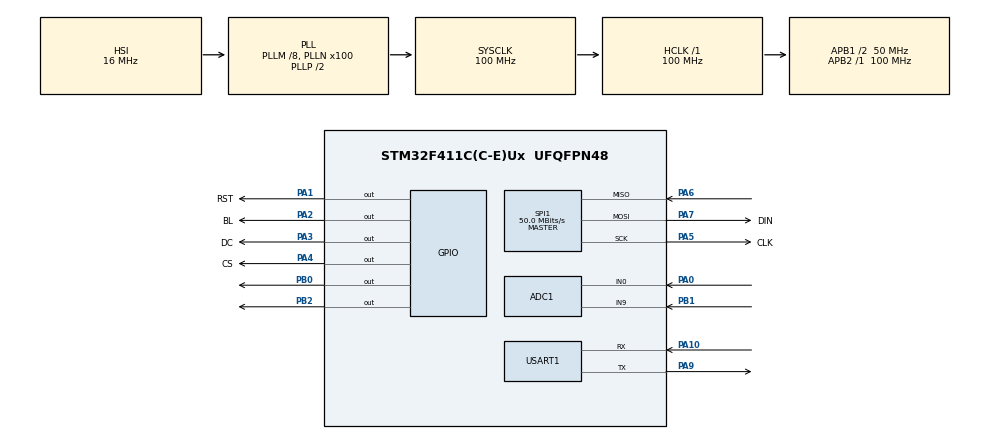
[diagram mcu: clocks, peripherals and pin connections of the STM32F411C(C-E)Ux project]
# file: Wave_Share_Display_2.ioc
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ADC1.Channel-4\#ChannelRegularConversion=ADC_CHANNEL_9
ADC1.Channel-5\#ChannelRegularConversion=ADC_CHANNEL_0
ADC1.EOCSelection=ADC_EOC_SEQ_CONV
ADC1.NbrOfConversion=2
ADC1.NbrOfConversionFlag=1
ADC1.Rank-4\#ChannelRegularConversion=1
ADC1.Rank-5\#ChannelRegularConversion=2
ADC1.SamplingTime-4\#ChannelRegularConversion=ADC_SAMPLETIME_3CYCLES
ADC1.SamplingTime-5\#ChannelRegularConversion=ADC_SAMPLETIME_15CYCLES
ADC1.ScanConvMode=ENABLE
ADC1.master=1
Dma.ADC1.0.Direction=DMA_PERIPH_TO_MEMORY
Dma.ADC1.0.FIFOMode=DMA_FIFOMODE_DISABLE
Dma.ADC1.0.Instance=DMA2_Stream0
Dma.ADC1.0.MemDataAlignment=DMA_MDATAALIGN_HALFWORD
Dma.ADC1.0.MemInc=DMA_MINC_ENABLE
Dma.ADC1.0.Mode=DMA_NORMAL
Dma.ADC1.0.PeriphDataAlignment=DMA_PDATAALIGN_HALFWORD
Dma.ADC1.0.PeriphInc=DMA_PINC_DISABLE
Dma.ADC1.0.Priority=DMA_PRIORITY_LOW
Dma.Request0=ADC1
Mcu.Family=STM32F4
Mcu.Name=STM32F411C(C-E)Ux
Mcu.Package=UFQFPN48
NVIC.DMA2_Stream0_IRQn=true\:0\:0\:false\:false\:true\:false\:true\:true
NVIC.PriorityGroup=NVIC_PRIORITYGROUP_4
NVIC.SPI1_IRQn=true\:0\:0\:false\:false\:true\:true\:true\:true
PA0-WKUP.Signal=ADCx_IN0
PA1.GPIO_Label=RST
PA1.Signal=GPIO_Output
PA10.Mode=Asynchronous
PA10.Signal=USART1_RX
PA2.GPIO_Label=BL
PA2.Signal=GPIO_Output
PA3.GPIO_Label=DC
PA3.Signal=GPIO_Output
PA4.GPIO_Label=CS
PA4.Signal=GPIO_Output
PA5.GPIO_Label=CLK
PA5.Mode=Full_Duplex_Master
PA5.Signal=SPI1_SCK
PA6.Mode=Full_Duplex_Master
PA6.Signal=SPI1_MISO
PA7.GPIO_Label=DIN
PA7.Mode=Full_Duplex_Master
PA7.Signal=SPI1_MOSI
PA9.Mode=Asynchronous
PA9.Signal=USART1_TX
PB0.Signal=GPIO_Output
PB1.Signal=ADCx_IN9
PB2.Signal=GPIO_Output
PH0\ -\ OSC_IN.Mode=HSE-External-Oscillator
PH0\ -\ OSC_IN.Signal=RCC_OSC_IN
PH1\ -\ OSC_OUT.Mode=HSE-External-Oscillator
PH1\ -\ OSC_OUT.Signal=RCC_OSC_OUT
ProjectManager.HeapSize=0x200
ProjectManager.StackSize=0x400
ProjectManager.TargetToolchain=STM32CubeIDE
RCC.48MHZClocksFreq_Value=50000000
RCC.AHBFreq_Value=100000000
RCC.APB1CLKDivider=RCC_HCLK_DIV2
RCC.APB1Freq_Value=50000000
RCC.APB1TimFreq_Value=100000000
RCC.APB2Freq_Value=100000000
RCC.APB2TimFreq_Value=100000000
RCC.CortexFreq_Value=100000000
RCC.HCLKFreq_Value=100000000
RCC.HSE_VALUE=25000000
RCC.HSI_VALUE=16000000
RCC.LSE_VALUE=32768
RCC.PLLM=8
RCC.PLLN=100
RCC.SYSCLKFreq_VALUE=100000000
RCC.SYSCLKSource=RCC_SYSCLKSOURCE_PLLCLK
RCC.VCOOutputFreq_Value=200000000
SH.ADCx_IN0.0=ADC1_IN0,IN0
SH.ADCx_IN9.0=ADC1_IN9,IN9
SPI1.BaudRatePrescaler=SPI_BAUDRATEPRESCALER_2
SPI1.CalculateBaudRate=50.0 MBits/s
SPI1.Direction=SPI_DIRECTION_2LINES
SPI1.Mode=SPI_MODE_MASTER
SPI1.VirtualType=VM_MASTER
USART1.VirtualMode=VM_ASYNC
board=custom

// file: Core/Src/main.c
/* USER CODE BEGIN Header */
/**
  ******************************************************************************
  * @file           : main.c
  * @brief          : Main program body
  ******************************************************************************
  * @attention
  *
  * Copyright (c) 2026 STMicroelectronics.
  * All rights reserved.
  *
  * This software is licensed under terms that can be found in the LICENSE file
  * in the root directory of this software component.
  * If no LICENSE file comes with this software, it is provided AS-IS.
  *
  ******************************************************************************
  */
/* USER CODE END Header */
#include "main.h"
#include "adc.h"
#include "dma.h"
#include "spi.h"
#include "usart.h"
#include "gpio.h"

/* USER CODE BEGIN Includes */
#include "ILI9341_STM32_Driver.h"
#include "ILI9341_GFX.h"
#include "snow_tiger.h"
#include "image_data.h"
#include "string.h"
#include "stdio.h"
#include "GraphInit.h"
/* USER CODE END Includes */

/* USER CODE BEGIN PV */
int _write(int fd, char *ptr, int len)
{
	HAL_StatusTypeDef hstatus;
	if(fd==1 || fd==2)
	{
		hstatus =  HAL_UART_Transmit(&huart1, (uint8_t *)ptr, len, HAL_MAX_DELAY);
		  return len;

		  if(hstatus == HAL_OK)
		  return len;

		  else
			  return -1;
	}
	return -1;
}
/* USER CODE END PV */

void SystemClock_Config(void);

/* USER CODE BEGIN 0 */
/* Make adc_val volatile so the main loop sees updates made by DMA/callbacks.
   Use a 32-bit storage because HAL_ADC_Start_DMA expects a uint32_t* buffer. */
#define Num_adc_channel 2

volatile uint32_t adc_val = 0;
char adc_text[16];
 volatile uint8_t count = 0;
uint8_t count_limit = 2;
volatile uint32_t adc_val2 = 0;
uint16_t adc_buffer_dma[Num_adc_channel];
uint16_t adc_buffer_dma2[Num_adc_channel];
uint8_t adc_data_ready = 0;

void HAL_ADC_ConvCpltCallback(ADC_HandleTypeDef* hadc)
{
    if (hadc->Instance == ADC1)
    {
        adc_buffer_dma2[0] = adc_buffer_dma[0];
        adc_buffer_dma2[1] = adc_buffer_dma[1];
        adc_data_ready = 1;
    }
}
/* USER CODE END 0 */

int main(void)
{

  /* MCU Configuration--------------------------------------------------------*/

  /* Reset of all peripherals, Initializes the Flash interface and the Systick. */
  HAL_Init();

  /* Configure the system clock */
  SystemClock_Config();

  /* Initialize all configured peripherals */
  MX_GPIO_Init();
  MX_DMA_Init();
  MX_SPI1_Init();
  MX_ADC1_Init();
  MX_USART1_UART_Init();

  /* Infinite loop */
  /* USER CODE BEGIN WHILE */

	ILI9341_Init();

	//Graph_Init();

	ILI9341_SetRotation(SCREEN_HORIZONTAL_2);

	//ILI9341_FillScreen(WHITE);

//	ILI9341_DrawText("SUNFOX", FONT3, 60, 85, BLUE, WHITE);
//
//	HAL_Delay(500);
//
//	ILI9341_FillScreen(WHITE);

//#if IMAGE_1_ENABLE
//	ILI9341_DrawImage(image_1,SCREEN_HORIZONTAL_2);
//#endif

//#if image2_ENABLE
//	ILI9341_DrawImage(Background, SCREEN_HORIZONTAL_2);
//#endif

#if image3_ENABLE
	ILI9341_DrawImage(Background,SCREEN_HORIZONTAL_2);
#endif

/* Graph Testing */
//
//  ILI9341_DrawHLine(50,120, 220, GREEN);
//
  HAL_Delay(1250);

  ILI9341_FillScreen(BLACK);

  HAL_GPIO_WritePin(GPIOB, GPIO_PIN_0, GPIO_PIN_RESET);
  HAL_GPIO_WritePin(GPIOB, GPIO_PIN_2, GPIO_PIN_RESET);

  while (1)
  {
    /* USER CODE END WHILE */

    /* USER CODE BEGIN 3 */

//	    HAL_ADC_Start_DMA(&hadc1, (uint32_t*)&adc_val, 1);
//	    count++;
//
//	    HAL_GPIO_TogglePin(GPIOB, GPIO_PIN_0);

	    //HAL_GPIO_WritePin(GPIOB, GPIO_PIN_0,GPIO_PIN_SET);

if(count >= count_limit &&  adc_data_ready)
{
//	    Graph_Update(adc_val);
//	    Graph_Update2(adc_val2);
	Graph_Update(adc_buffer_dma2[0]);
	Graph_Update2(adc_buffer_dma2[1]);
	printf("%d , %d\r\n",adc_buffer_dma2[0],adc_buffer_dma2[1]);
	//printf("%d\r\n",adc_buffer_dma2[1]);
	    count = 0;
}
	   // Graph_Update2(adc_val);
	   // graph_push(adc_val);

     //	HAL_Delay(10);

//
//		snprintf(adc_text, sizeof(adc_text), "%lu", (unsigned long)adc_val);
//		ILI9341_DrawText(adc_text, FONT3, 100, 85, BLUE, WHITE);
  }
  /* USER CODE END 3 */
}

void SystemClock_Config(void)
{
  RCC_OscInitTypeDef RCC_OscInitStruct = {0};
  RCC_ClkInitTypeDef RCC_ClkInitStruct = {0};

  /** Configure the main internal regulator output voltage
  */
  __HAL_RCC_PWR_CLK_ENABLE();
  __HAL_PWR_VOLTAGESCALING_CONFIG(PWR_REGULATOR_VOLTAGE_SCALE1);

  /** Initializes the RCC Oscillators according to the specified parameters
  * in the RCC_OscInitTypeDef structure.
  */
  RCC_OscInitStruct.OscillatorType = RCC_OSCILLATORTYPE_HSI;
  RCC_OscInitStruct.HSIState = RCC_HSI_ON;
  RCC_OscInitStruct.HSICalibrationValue = RCC_HSICALIBRATION_DEFAULT;
  RCC_OscInitStruct.PLL.PLLState = RCC_PLL_ON;
  RCC_OscInitStruct.PLL.PLLSource = RCC_PLLSOURCE_HSI;
  RCC_OscInitStruct.PLL.PLLM = 8;
  RCC_OscInitStruct.PLL.PLLN = 100;
  RCC_OscInitStruct.PLL.PLLP = RCC_PLLP_DIV2;
  RCC_OscInitStruct.PLL.PLLQ = 4;
  if (HAL_RCC_OscConfig(&RCC_OscInitStruct) != HAL_OK)
  {
    Error_Handler();
  }

  /** Initializes the CPU, AHB and APB buses clocks
  */
  RCC_ClkInitStruct.ClockType = RCC_CLOCKTYPE_HCLK|RCC_CLOCKTYPE_SYSCLK
                              |RCC_CLOCKTYPE_PCLK1|RCC_CLOCKTYPE_PCLK2;
  RCC_ClkInitStruct.SYSCLKSource = RCC_SYSCLKSOURCE_PLLCLK;
  RCC_ClkInitStruct.AHBCLKDivider = RCC_SYSCLK_DIV1;
  RCC_ClkInitStruct.APB1CLKDivider = RCC_HCLK_DIV2;
  RCC_ClkInitStruct.APB2CLKDivider = RCC_HCLK_DIV1;

  if (HAL_RCC_ClockConfig(&RCC_ClkInitStruct, FLASH_LATENCY_3) != HAL_OK)
  {
    Error_Handler();
  }
}

void Error_Handler(void)
{
  __disable_irq();
  while (1)
  {
  }
}
